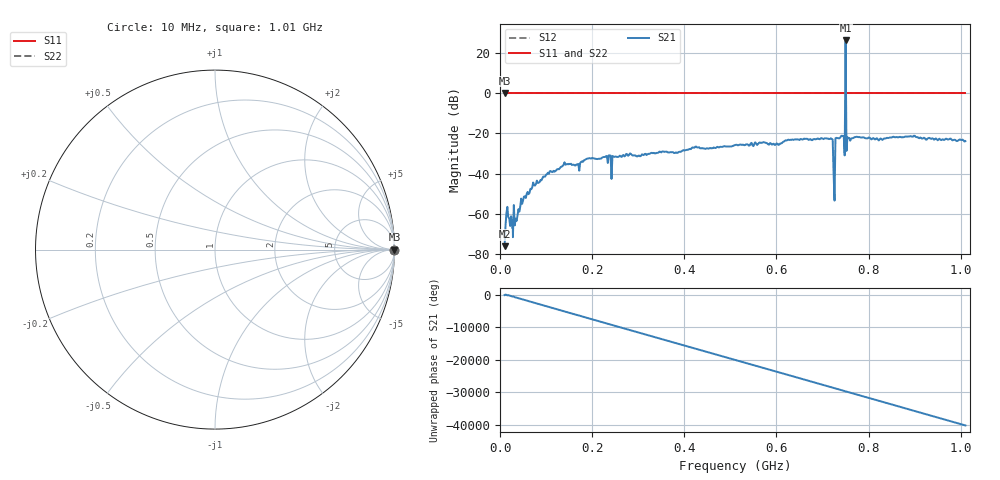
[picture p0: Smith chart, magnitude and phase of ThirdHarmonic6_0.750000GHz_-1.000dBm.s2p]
! 8/16/2025 1:05:37 AM
! C:\ANRITSUVNA\TEMP\TEMP.S2P
! CHANNEL.1
! TR.MEASUREMENT
! RAW.DATA
! RF.CORRECTION.OFF
! AVERAGING.OFF
! IF.BANDWIDTH: 5KHZ
! SWEEPTYPE:  FREQ.SWEEP(Linear)
! Reference Plane Port Info
! PORT:  PORT1  PORT2
! DISTANCE:  0  m  0  m
! TIME:  0  s  0  s
! PHASE.OFFSET:  0  deg.  0  deg.
! LOSS:  0  dB  0  dB
! REF.LOSS:  0  dB  0  dB
! REF.FREQ:  0  Hz  0  Hz
! Power Info
! POWER:  -20  dBm  -20  dBm
! EFF.POWER:  -20  dBm  -20  dBm
! SOURCE.ATTEN:  0  dB  0  dB
! TEST.ATTEN:  0  dB  0  dB
# GHZ S RI R 50.0
! FREQ.GHZ  S11RE  S11IM  S21RE  S21IM  S12RE  S12IM  S22RE  S22IM
!; PortSelection: Port_12
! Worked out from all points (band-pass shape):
!   501 points, 10 MHz to 1.01 GHz, reference 50 ohm
!   highest |S21| = 26.09 dB at 750 MHz (marker M1); lowest = -76.1 dB at 10 MHz (marker M2)
!   |S21| within 3 dB of the highest: 749.8949 MHz to 750.1094 MHz (214.5 kHz wide, 0.0286 % of centre)
!   lowest |S11| = 0.0 dB at 10 MHz (marker M3)
!   |S11| at or under -10 dB: nowhere
!   |S22| runs from 0.0 to 0.0 dB; largest |S21 - S12| = 20
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0.01  1 0  2.99e-05 -0.000154  1 0  1 0
0.016  1 0  -0.00149 -0.0001  1 0  1 0
0.024  1 0  0.00054 -0.000684  1 0  1 0
0.032  1 0  0.000497 -0.00014  1 0  1 0
0.05  1 0  0.00212 -0.000205  1 0  1 0
0.076  1 0  0.00503 -0.000194  1 0  1 0
0.14  1 0  0.00779 -0.0173  1 0  1 0
0.178  1 0  -0.02 -0.000881  1 0  1 0
0.344  1 0  0.03 -0.0141  1 0  1 0
0.51  1 0  -0.0375 0.0345  1 0  1 0
0.678  1 0  -0.0616 -0.0274  1 0  1 0
0.718  1 0  0.0669 0.034  1 0  1 0
0.722  1 0  -0.05 -0.0485  1 0  1 0
0.728  1 0  0.0728 -0.0196  1 0  1 0
0.732  1 0  -0.0761 -0.00341  1 0  1 0
0.744  1 0  0.0454 0.0721  1 0  1 0
0.746  1 0  0.0764 -0.0388  1 0  1 0
0.75  1 0  -6.36 19.12  1 0  1 0
0.754  1 0  0.0788 0.0108  1 0  1 0
0.756  1 0  0.0233 -0.0731  1 0  1 0
0.844  1 0  0.0735 -0.0223  1 0  1 0
1.01  1 0  -0.0241 0.059  1 0  1 0
